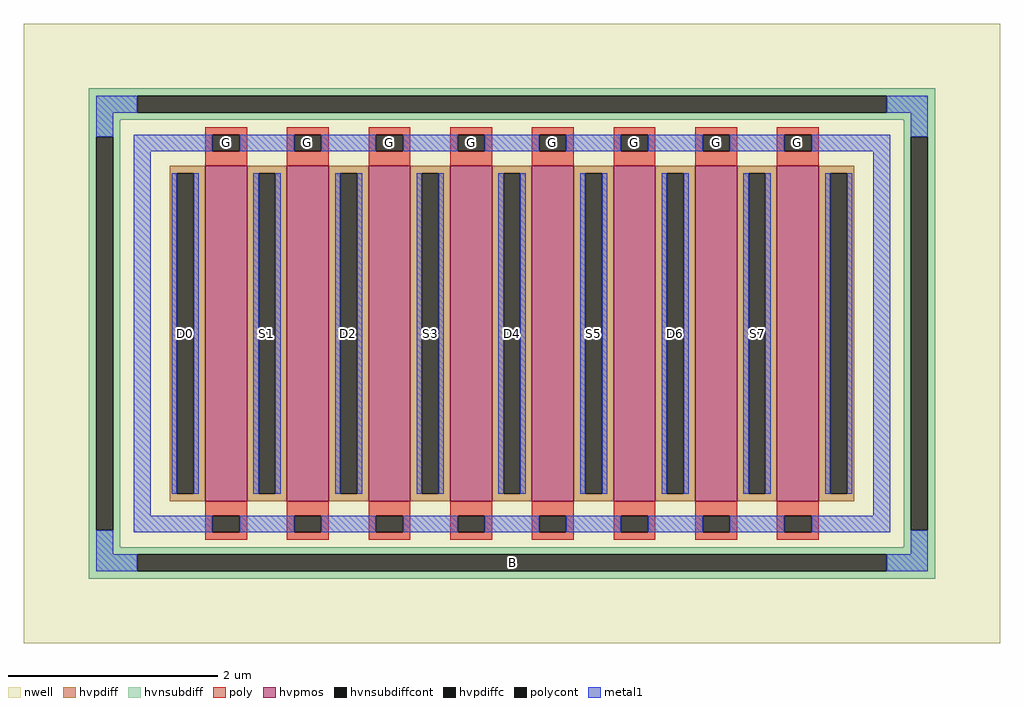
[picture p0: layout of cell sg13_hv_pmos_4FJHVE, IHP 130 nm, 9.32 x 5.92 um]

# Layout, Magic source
magic
tech ihp-sg13cmos5l
<< nwell >>
rect -466 -296 466 296
<< hvpmos >>
rect -293 -160 -253 160
rect -215 -160 -175 160
rect -137 -160 -97 160
rect -59 -160 -19 160
rect 19 -160 59 160
rect 97 -160 137 160
rect 175 -160 215 160
rect 253 -160 293 160
<< hvpdiff >>
rect -327 153 -293 160
rect -327 -153 -320 153
rect -304 -153 -293 153
rect -327 -160 -293 -153
rect -253 153 -215 160
rect -253 -153 -242 153
rect -226 -153 -215 153
rect -253 -160 -215 -153
rect -175 153 -137 160
rect -175 -153 -164 153
rect -148 -153 -137 153
rect -175 -160 -137 -153
rect -97 153 -59 160
rect -97 -153 -86 153
rect -70 -153 -59 153
rect -97 -160 -59 -153
rect -19 153 19 160
rect -19 -153 -8 153
rect 8 -153 19 153
rect -19 -160 19 -153
rect 59 153 97 160
rect 59 -153 70 153
rect 86 -153 97 153
rect 59 -160 97 -153
rect 137 153 175 160
rect 137 -153 148 153
rect 164 -153 175 153
rect 137 -160 175 -153
rect 215 153 253 160
rect 215 -153 226 153
rect 242 -153 253 153
rect 215 -160 253 -153
rect 293 153 327 160
rect 293 -153 304 153
rect 320 -153 327 153
rect 293 -160 327 -153
<< hvpdiffc >>
rect -320 -153 -304 153
rect -242 -153 -226 153
rect -164 -153 -148 153
rect -86 -153 -70 153
rect -8 -153 8 153
rect 70 -153 86 153
rect 148 -153 164 153
rect 226 -153 242 153
rect 304 -153 320 153
<< hvnsubdiff >>
rect -404 227 404 234
rect -404 211 -358 227
rect 358 211 404 227
rect -404 204 404 211
rect -404 188 -374 204
rect -404 -188 -397 188
rect -381 -188 -374 188
rect 374 188 404 204
rect -404 -204 -374 -188
rect 374 -188 381 188
rect 397 -188 404 188
rect 374 -204 404 -188
rect -404 -211 404 -204
rect -404 -227 -358 -211
rect 358 -227 404 -211
rect -404 -234 404 -227
<< hvnsubdiffcont >>
rect -358 211 358 227
rect -397 -188 -381 188
rect 381 -188 397 188
rect -358 -227 358 -211
<< poly >>
rect -293 190 -253 197
rect -293 174 -286 190
rect -260 174 -253 190
rect -293 160 -253 174
rect -215 190 -175 197
rect -215 174 -208 190
rect -182 174 -175 190
rect -215 160 -175 174
rect -137 190 -97 197
rect -137 174 -130 190
rect -104 174 -97 190
rect -137 160 -97 174
rect -59 190 -19 197
rect -59 174 -52 190
rect -26 174 -19 190
rect -59 160 -19 174
rect 19 190 59 197
rect 19 174 26 190
rect 52 174 59 190
rect 19 160 59 174
rect 97 190 137 197
rect 97 174 104 190
rect 130 174 137 190
rect 97 160 137 174
rect 175 190 215 197
rect 175 174 182 190
rect 208 174 215 190
rect 175 160 215 174
rect 253 190 293 197
rect 253 174 260 190
rect 286 174 293 190
rect 253 160 293 174
rect -293 -174 -253 -160
rect -293 -190 -286 -174
rect -260 -190 -253 -174
rect -293 -197 -253 -190
rect -215 -174 -175 -160
rect -215 -190 -208 -174
rect -182 -190 -175 -174
rect -215 -197 -175 -190
rect -137 -174 -97 -160
rect -137 -190 -130 -174
rect -104 -190 -97 -174
rect -137 -197 -97 -190
rect -59 -174 -19 -160
rect -59 -190 -52 -174
rect -26 -190 -19 -174
rect -59 -197 -19 -190
rect 19 -174 59 -160
rect 19 -190 26 -174
rect 52 -190 59 -174
rect 19 -197 59 -190
rect 97 -174 137 -160
rect 97 -190 104 -174
rect 130 -190 137 -174
rect 97 -197 137 -190
rect 175 -174 215 -160
rect 175 -190 182 -174
rect 208 -190 215 -174
rect 175 -197 215 -190
rect 253 -174 293 -160
rect 253 -190 260 -174
rect 286 -190 293 -174
rect 253 -197 293 -190
<< polycont >>
rect -286 174 -260 190
rect -208 174 -182 190
rect -130 174 -104 190
rect -52 174 -26 190
rect 26 174 52 190
rect 104 174 130 190
rect 182 174 208 190
rect 260 174 286 190
rect -286 -190 -260 -174
rect -208 -190 -182 -174
rect -130 -190 -104 -174
rect -52 -190 -26 -174
rect 26 -190 52 -174
rect 104 -190 130 -174
rect 182 -190 208 -174
rect 260 -190 286 -174
<< metal1 >>
rect -397 211 -358 227
rect 358 211 397 227
rect -397 188 -381 211
rect -397 -211 -381 -188
rect -361 174 -286 190
rect -260 174 -208 190
rect -182 174 -130 190
rect -104 174 -52 190
rect -26 174 26 190
rect 52 174 104 190
rect 130 174 182 190
rect 208 174 260 190
rect 286 174 361 190
rect -361 -174 -345 174
rect -325 -153 -320 153
rect -304 -153 -299 153
rect -247 -153 -242 153
rect -226 -153 -221 153
rect -169 -153 -164 153
rect -148 -153 -143 153
rect -91 -153 -86 153
rect -70 -153 -65 153
rect -13 -153 -8 153
rect 8 -153 13 153
rect 65 -153 70 153
rect 86 -153 91 153
rect 143 -153 148 153
rect 164 -153 169 153
rect 221 -153 226 153
rect 242 -153 247 153
rect 299 -153 304 153
rect 320 -153 325 153
rect 345 -174 361 174
rect -361 -190 -286 -174
rect -260 -190 -208 -174
rect -182 -190 -130 -174
rect -104 -190 -52 -174
rect -26 -190 26 -174
rect 52 -190 104 -174
rect 130 -190 182 -174
rect 208 -190 260 -174
rect 286 -190 361 -174
rect 381 188 397 211
rect 381 -211 397 -188
rect -397 -227 -358 -211
rect 358 -227 397 -211
<< labels >>
rlabel hvnsubdiffcont 0 -219 0 -219 0 B
port 1 nsew
rlabel hvpdiffc -312 0 -312 0 0 D0
port 2 nsew
rlabel polycont -273 182 -273 182 0 G
port 3 nsew
rlabel hvpdiffc -234 0 -234 0 0 S1
port 4 nsew
rlabel polycont -195 182 -195 182 0 G
port 3 nsew
rlabel hvpdiffc -156 0 -156 0 0 D2
port 5 nsew
rlabel polycont -117 182 -117 182 0 G
port 3 nsew
rlabel hvpdiffc -78 0 -78 0 0 S3
port 6 nsew
rlabel polycont -39 182 -39 182 0 G
port 3 nsew
rlabel hvpdiffc 0 0 0 0 0 D4
port 7 nsew
rlabel polycont 39 182 39 182 0 G
port 3 nsew
rlabel hvpdiffc 78 0 78 0 0 S5
port 8 nsew
rlabel polycont 117 182 117 182 0 G
port 3 nsew
rlabel hvpdiffc 156 0 156 0 0 D6
port 9 nsew
rlabel polycont 195 182 195 182 0 G
port 3 nsew
rlabel hvpdiffc 234 0 234 0 0 S7
port 10 nsew
rlabel polycont 273 182 273 182 0 G
port 3 nsew
<< properties >>
string FIXED_BBOX -389 -219 389 219
string gencell sg13_hv_pmos
string library sg13cmos5l
string parameters w 3.2 l 0.4 m 1 ng 8 diffcov 100 polycov 100 guard 1 glc 1 grc 1 gtc 1 gbc 1 tbcov 100 rlcov 100 topc 1 botc 1 poverlap 0 doverlap 1 lmin 0.4 wmin 0.15 class mosfet compatible {sg13_lv_pmos sg13_hv_pmos} full_metal 1 conn_gates 1 gate_ring 1 ccols 1 viasrc 0 viadrn 0 viagate 0 viagb 0 viagr 0 viagl 0 viagt 0 doports 1
<< end >>
